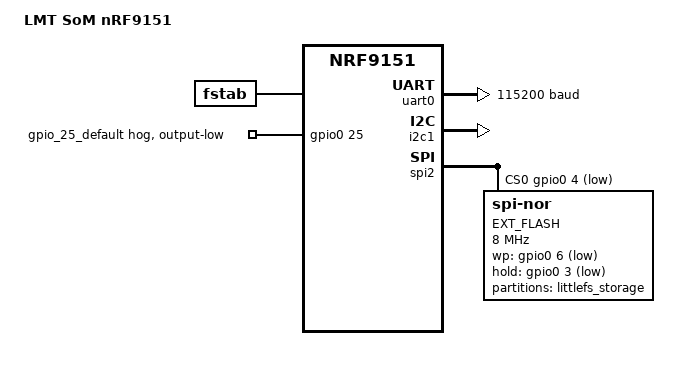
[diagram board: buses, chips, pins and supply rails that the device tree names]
/*
 * Copyright (c) 2025 Latvijas Mobilais Telefons
 * SPDX-License-Identifier: Apache-2.0
 */

#include "lmt9151som_nrf9151_common-pinctrl.dtsi"
#include <zephyr/dt-bindings/input/input-event-codes.h>

/ {
	model = "LMT SoM nRF9151";
	compatible = "lmt,som-nrf9151";

	chosen {
		zephyr,console = &uart0;
		zephyr,shell-uart = &uart0;
		zephyr,uart-mcumgr = &uart0;
	};

	aliases {
		watchdog0 = &wdt0;
		spi-flash0 = &ext_flash;
	};

	fstab {
		compatible = "zephyr,fstab";

		lfs1: lfs1 {
			compatible = "zephyr,fstab,littlefs";
			mount-point = "/lfs";
			partition = <&lfs1_partition>;
			read-size = <16>;
			prog-size = <16>;
			cache-size = <64>;
			lookahead-size = <32>;
			block-cycles = <512>;
		};
	};
};

// SIM SELect
&gpio0 {
	status = "okay";
	label = "GPIO0";
	gpio_25_default: gpio_25_default {
		gpio-hog;
		gpios = <25 (GPIO_ACTIVE_HIGH)>;
		output-low;
	};
};

&gpiote {
	status = "okay";
};

&uart0 {
	status = "okay";
	label = "UART0";
	current-speed = <115200>;
	pinctrl-0 = <&uart0_default>;
	pinctrl-1 = <&uart0_sleep>;
	pinctrl-names = "default", "sleep";
};

&i2c1 {
	compatible = "nordic,nrf-twim";
	status = "okay";
	pinctrl-0 = <&i2c1_default>;
	pinctrl-1 = <&i2c1_sleep>;
	pinctrl-names = "default", "sleep";
};

&spi2 {
	compatible = "nordic,nrf-spim";
	status = "okay";
	cs-gpios = < &gpio0 4 GPIO_ACTIVE_LOW >;
	pinctrl-0 = <&spi2_default>;
	pinctrl-1 = <&spi2_sleep>;
	pinctrl-names = "default", "sleep";
	ext_flash: ext_flash@0 {
		label = "EXT_FLASH";
		compatible = "jedec,spi-nor";
		reg = <0>;
		spi-max-frequency = <8000000>;
		wp-gpios = < &gpio0 6 GPIO_ACTIVE_LOW >;
		hold-gpios = < &gpio0 3 GPIO_ACTIVE_LOW >;
		size = <33554432>;
		t-enter-dpd = <10000>;   /* 10 µs  >= tDP  of both IS25LP032D & MX25L3233F */
		t-exit-dpd  = <30000>;   /* 30 µs  >= tRES1 of both*/
		has-dpd;
	};
};

&ext_flash {
	partitions {
		compatible = "fixed-partitions";
		#address-cells = <1>;
		#size-cells = <1>;

		lfs1_partition: partition@0 {
			label = "littlefs_storage";
			reg = <0x00000000 0x00400000>; //bytes
		};
	};
};

&flash0 {
	partitions {
		ranges;
		#address-cells = <1>;
		#size-cells = <1>;

		boot_partition: b0_partition: partition@0 {
			compatible = "zephyr,mapped-partition";
			label = "mcuboot";
			reg = <0x00000000 0x8000>;
		};
		s0_partition: partition@8000 {
			compatible = "zephyr,mapped-partition";
			label = "mcuboot-0";
			reg = <0x00008000 0xc000>;
		};
		/* 0x14000-0x18000: EMPTY_0 (unallocated) */
		s1_partition: partition@18000 {
			compatible = "zephyr,mapped-partition";
			label = "mcuboot-1";
			reg = <0x00018000 0xc000>;
		};
		/* 0x24000-0x28000: EMPTY_1 (unallocated) */
		slot0_partition: partition@28000 {
			compatible = "zephyr,mapped-partition";
			label = "image-0";
			reg = <0x00028000 0x68000>;
			ranges = <0x0 0x00028000 0x68000>;
			#address-cells = <1>;
			#size-cells = <1>;

			slot0_s_partition: partition@0 {
				compatible = "zephyr,mapped-partition";
				label = "image-0-secure";
				reg = <0x00000000 0x8000>;
			};
			slot0_ns_partition: partition@8000 {
				compatible = "zephyr,mapped-partition";
				label = "image-0-nonsecure";
				reg = <0x00008000 0x60000>;
			};
		};
		slot1_partition: partition@90000 {
			compatible = "zephyr,mapped-partition";
			label = "image-1";
			reg = <0x00090000 0x68000>;
			ranges = <0x0 0x00090000 0x68000>;
			#address-cells = <1>;
			#size-cells = <1>;

			slot1_s_partition: partition@0 {
				compatible = "zephyr,mapped-partition";
				label = "image-1-secure";
				reg = <0x00000000 0x8000>;
			};
			slot1_ns_partition: partition@8000 {
				compatible = "zephyr,mapped-partition";
				label = "image-1-nonsecure";
				reg = <0x00008000 0x60000>;
			};
		};
		storage_partition: partition@f8000 {
			compatible = "zephyr,mapped-partition";
			label = "storage";
			reg = <0x000f8000 0x6000>;
			ranges = <0x0 0x000f8000 0x6000>;
			#address-cells = <1>;
			#size-cells = <1>;
			/* PM: nvs_storage, used by lmtSDK fs_nvs (6 x 4 KiB) */
			nvs_storage: partition@0 {
				compatible = "zephyr,mapped-partition";
				label = "nvs_storage";
				reg = <0x0 0x6000>;
			};
		};
		/* 0xfe000-0x100000: EMPTY_2 (unallocated) */
	};
};


&sram0 {
	sram0_s: sram@0 {
		reg = <0x0 0x8000>;
	};
	sram0_ns: sram@8000 {
		reg = <0x8000 0x38000>;
		#address-cells = <1>;
		#size-cells = <1>;
		ranges = <0x0 0x8000 0x38000>;

		sram0_ns_modem: sram0_ns@0 {
			reg = <0x0 0x4568>;
			#address-cells = <1>;
			#size-cells = <1>;
			ranges = <0x0 0x0 0x4568>;

			cpuapp_cpucell_ipc_shm_ctrl: sram0_ns_modem@0 {
				reg = <0x0 0x4e8>;
			};
			cpuapp_cpucell_ipc_shm_heap: sram0_ns_modem@4e8 {
				reg = <0x4e8 0x2080>;
			};
			cpucell_cpuapp_ipc_shm_heap: sram0_ns_modem@2568 {
				reg = <0x2568 0x2000>;
			};
		};
		sram0_ns_app: sram0_ns@4568 {
			reg = <0x4568 0x33a98>;
		};
	};
};
